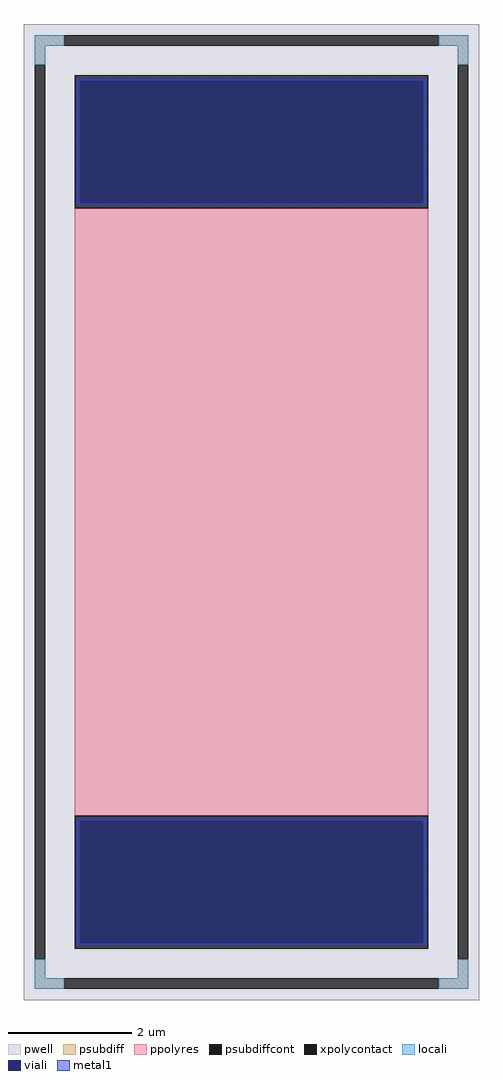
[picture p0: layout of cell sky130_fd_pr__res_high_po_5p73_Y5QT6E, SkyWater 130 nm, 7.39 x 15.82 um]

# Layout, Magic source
magic
tech sky130A
magscale 1 2
<< pwell >>
rect -739 -1582 739 1582
<< psubdiff >>
rect -703 1512 -607 1546
rect 607 1512 703 1546
rect -703 1450 -669 1512
rect 669 1450 703 1512
rect -703 -1512 -669 -1450
rect 669 -1512 703 -1450
rect -703 -1546 -607 -1512
rect 607 -1546 703 -1512
<< psubdiffcont >>
rect -607 1512 607 1546
rect -703 -1450 -669 1450
rect 669 -1450 703 1450
rect -607 -1546 607 -1512
<< xpolycontact >>
rect -573 984 573 1416
rect -573 -1416 573 -984
<< ppolyres >>
rect -573 -984 573 984
<< locali >>
rect -703 1512 -607 1546
rect 607 1512 703 1546
rect -703 1450 -669 1512
rect 669 1450 703 1512
rect -703 -1512 -669 -1450
rect 669 -1512 703 -1450
rect -703 -1546 -607 -1512
rect 607 -1546 703 -1512
<< viali >>
rect -557 1001 557 1398
rect -557 -1398 557 -1001
<< metal1 >>
rect -569 1398 569 1404
rect -569 1001 -557 1398
rect 557 1001 569 1398
rect -569 995 569 1001
rect -569 -1001 569 -995
rect -569 -1398 -557 -1001
rect 557 -1398 569 -1001
rect -569 -1404 569 -1398
<< properties >>
string FIXED_BBOX -686 -1529 686 1529
string gencell sky130_fd_pr__res_high_po_5p73
string library sky130
string parameters w 5.730 l 10.0 m 1 nx 1 wmin 5.730 lmin 0.50 rho 319.8 val 626.115 dummy 0 dw 0.0 term 194.82 sterm 0.0 caplen 0 guard 1 glc 1 grc 1 gtc 1 gbc 1 compatible {sky130_fd_pr__res_high_po_0p35  sky130_fd_pr__res_high_po_0p69 sky130_fd_pr__res_high_po_1p41  sky130_fd_pr__res_high_po_2p85 sky130_fd_pr__res_high_po_5p73} snake 0 full_metal 1 wmax 5.730 n_guard 0 hv_guard 0 vias 1 viagb 0 viagt 0 viagl 0 viagr 0
<< end >>
